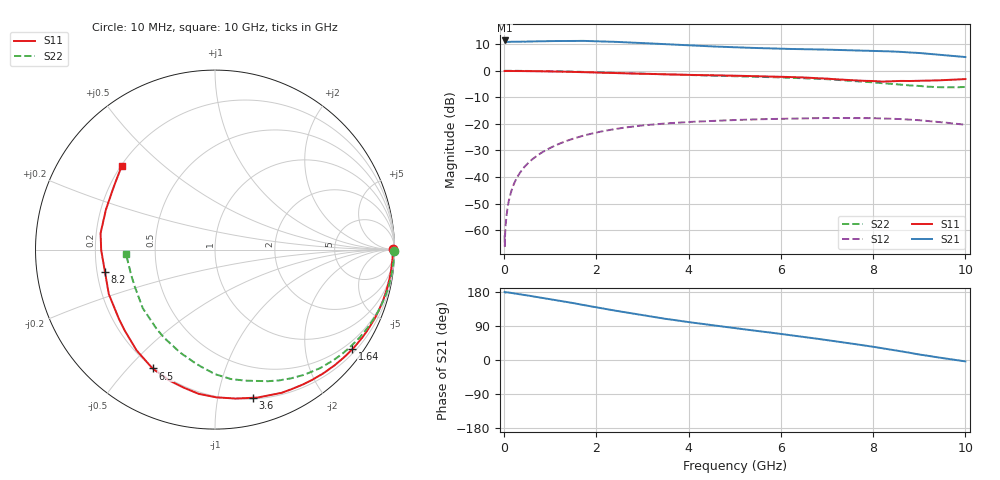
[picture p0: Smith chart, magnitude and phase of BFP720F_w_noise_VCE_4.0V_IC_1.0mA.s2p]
! Infineon Technologies  Discrete & RF Semiconductors
! BFP720F
! VCE =  4.0 V,  IC =  1.0 mA
! Common Emitter S-Parameters:  Jan 2016
# GHz  S  MA  R  50
!  f  S11  S21  S12  S22
! GHz  MAG  ANG  MAG  ANG  MAG  ANG  MAG  ANG
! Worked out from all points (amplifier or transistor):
!   233 points, 10 MHz to 10 GHz, reference 50 ohm
!   highest |S21| = 11.4 dB at 10 MHz (marker M1)
!   |S21| within 3 dB of that: start of sweep to 5.732 GHz
!   unconditionally stable (mu >= 1): nowhere
!   at 200 MHz: K = 0.04, MSG = 27.0 dB, |S12| = -43.1 dB
!   at 1.74 GHz: K = 0.12, MSG = 17.8 dB, |S12| = -24.3 dB
!   at 10 GHz: K = 0.88, MSG = 12.7 dB, |S12| = -20.3 dB
!   lowest NFmin = 0.46 dB at 450 MHz
!   S11 on the Smith chart (normalised r, x): 10 MHz: open; 1.64 GHz: 0.29, -3.05; 3.6 GHz: 0.21, -1.27; 6.5 GHz: 0.20, -0.59; 8.2 GHz: 0.23, -0.10; 10 GHz: 0.20, +0.37
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0.01  0.9893 0.2  3.719 179.5  0.0008 -32.0  0.9993 -0.4
0.015  0.9898 -0.1  3.603 178.8  0.0005 21.9  0.9996 -0.7
0.02  0.9904 -0.3  3.488 178.1  0.0008 75.9  1 -1.0
0.025  0.9905 -0.4  3.488 178.2  0.001 77.6  0.9996 -1.0
0.055  0.9908 -1.2  3.491 178.7  0.002 82.2  0.9976 -0.9
0.14  0.9902 -2.9  3.509 177.3  0.0049 85.6  0.9986 -2.2
0.38  0.987 -8.0  3.541 172.7  0.0134 83.2  0.9951 -6.0
1  0.9723 -21.4  3.617 160.6  0.0354 73.0  0.9823 -16.0
1.64  0.9451 -36.0  3.648 146.9  0.0575 61.2  0.9558 -26.8
1.68  0.9428 -36.9  3.652 146.0  0.0588 60.4  0.9537 -27.5
2.18  0.9176 -48.1  3.572 135.1  0.0741 50.7  0.9271 -36.1
2.58  0.8974 -56.7  3.456 126.6  0.0845 43.2  0.9054 -42.4
3.4  0.8602 -72.3  3.203 110.6  0.1002 29.1  0.8611 -53.3
3.6  0.8521 -75.7  3.143 107.0  0.1032 26.0  0.8515 -55.5
4.5  0.8234 -89.4  2.876 91.9  0.1141 13.5  0.8124 -63.7
5.1  0.804 -97.7  2.751 82.7  0.119 5.5  0.7855 -68.9
6.5  0.7481 -117.7  2.556 61.0  0.1277 -11.8  0.7266 -83.0
6.8  0.7233 -123.7  2.516 55.9  0.1284 -15.8  0.706 -87.1
8.2  0.6256 -168.5  2.339 31.0  0.1266 -35.8  0.5834 -114.2
8.4  0.6342 -179.8  2.311 27.0  0.1254 -39.0  0.5669 -120.1
9  0.6473 159.9  2.16 14.5  0.1173 -49.0  0.5183 -140.9
10  0.6984 138.0  1.812 -3.7  0.0964 -62.2  0.4961 -177.0
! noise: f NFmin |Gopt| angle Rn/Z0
0.45  0.46  0.82  5  0.47
0.9  0.6  0.8  13  0.49
1.8  0.65  0.78  26  0.36
2.4  0.69  0.8  31  0.37
5.5  1.15  0.59  94  0.23
10  1.7  0.42  -145  0.16
